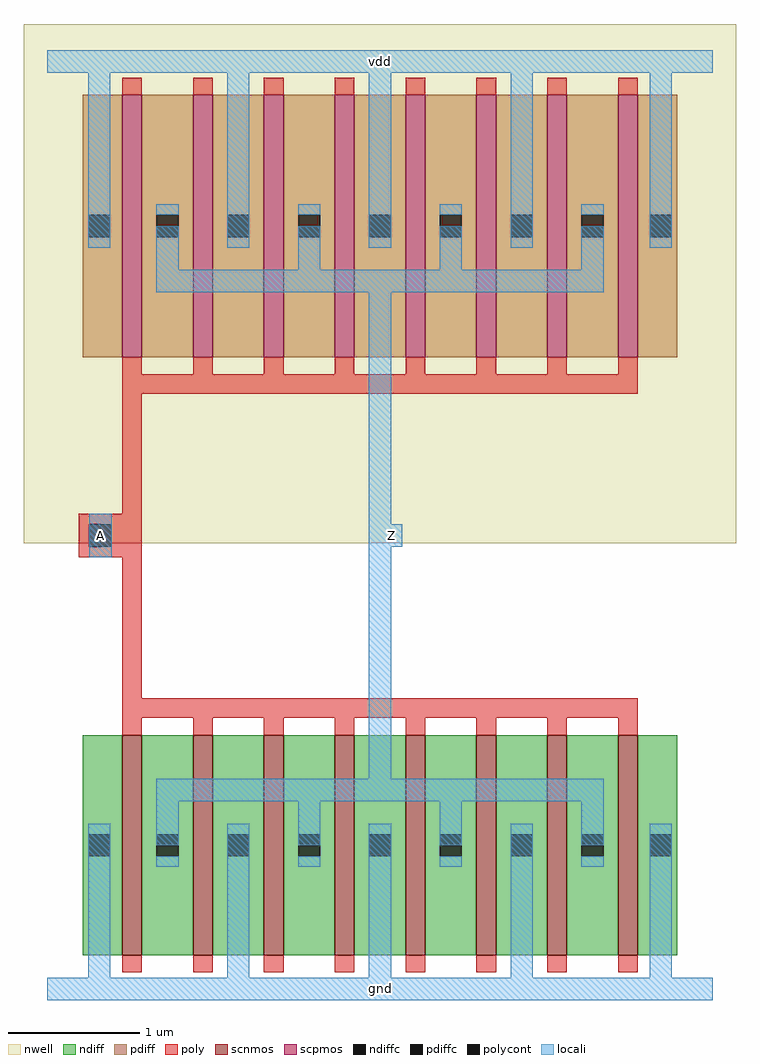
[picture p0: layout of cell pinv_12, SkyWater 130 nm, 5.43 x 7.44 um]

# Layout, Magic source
magic
tech sky130A
magscale 1 2
<< nwell >>
rect -36 679 1050 1471
<< poly >>
rect 114 724 144 907
rect 81 658 144 724
rect 114 443 144 658
<< locali >>
rect 0 1397 1014 1431
rect 62 1130 96 1397
rect 274 1130 308 1397
rect 490 1130 524 1397
rect 706 1130 740 1397
rect 918 1130 952 1397
rect 64 658 98 724
rect 490 708 524 1096
rect 490 674 541 708
rect 490 286 524 674
rect 62 17 96 186
rect 274 17 308 186
rect 490 17 524 186
rect 706 17 740 186
rect 918 17 952 186
rect 0 -17 1014 17
use pmos_m8_w2_000_sli_dli_da_p  pmos_m8_w2_000_sli_dli_da_p_0
transform 1 0 54 0 1 963
box -59 -56 965 454
use contact_12  contact_12_0
transform 1 0 48 0 1 658
box 0 0 66 66
use nmos_m8_w1_680_sli_dli_da_p  nmos_m8_w1_680_sli_dli_da_p_0
transform 1 0 54 0 1 51
box 0 -26 906 392
<< labels >>
rlabel corelocali s 507 0 507 0 4 gnd
rlabel corelocali s 524 691 524 691 4 Z
rlabel corelocali s 507 1414 507 1414 4 vdd
rlabel corelocali s 81 691 81 691 4 A
<< properties >>
string FIXED_BBOX 0 0 1014 1414
<< end >>

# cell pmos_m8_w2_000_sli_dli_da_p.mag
magic
tech sky130A
magscale 1 2
<< nwell >>
rect -54 -54 960 454
<< scpmos >>
rect 60 0 90 400
rect 168 0 198 400
rect 276 0 306 400
rect 384 0 414 400
rect 492 0 522 400
rect 600 0 630 400
rect 708 0 738 400
rect 816 0 846 400
<< pdiff >>
rect 0 0 60 400
rect 90 0 168 400
rect 198 0 276 400
rect 306 0 384 400
rect 414 0 492 400
rect 522 0 600 400
rect 630 0 708 400
rect 738 0 816 400
rect 846 0 906 400
<< poly >>
rect 60 400 90 426
rect 168 400 198 426
rect 276 400 306 426
rect 384 400 414 426
rect 492 400 522 426
rect 600 400 630 426
rect 708 400 738 426
rect 816 400 846 426
rect 60 -26 90 0
rect 168 -26 198 0
rect 276 -26 306 0
rect 384 -26 414 0
rect 492 -26 522 0
rect 600 -26 630 0
rect 708 -26 738 0
rect 816 -26 846 0
rect 60 -56 846 -26
<< locali >>
rect 8 167 42 233
rect 112 133 146 200
rect 220 167 254 233
rect 328 133 362 200
rect 436 167 470 233
rect 544 133 578 200
rect 652 167 686 233
rect 760 133 794 200
rect 864 167 898 233
rect 112 99 794 133
use contact_11  contact_11_8
transform 1 0 0 0 1 167
box -59 -51 109 117
use contact_11  contact_11_7
transform 1 0 104 0 1 167
box -59 -51 109 117
use contact_11  contact_11_6
transform 1 0 212 0 1 167
box -59 -51 109 117
use contact_11  contact_11_5
transform 1 0 320 0 1 167
box -59 -51 109 117
use contact_11  contact_11_4
transform 1 0 428 0 1 167
box -59 -51 109 117
use contact_11  contact_11_3
transform 1 0 536 0 1 167
box -59 -51 109 117
use contact_11  contact_11_2
transform 1 0 644 0 1 167
box -59 -51 109 117
use contact_11  contact_11_1
transform 1 0 752 0 1 167
box -59 -51 109 117
use contact_11  contact_11_0
transform 1 0 856 0 1 167
box -59 -51 109 117
<< labels >>
rlabel poly s 453 -41 453 -41 4 G
rlabel corelocali s 669 200 669 200 4 S
rlabel corelocali s 453 200 453 200 4 S
rlabel corelocali s 881 200 881 200 4 S
rlabel corelocali s 25 200 25 200 4 S
rlabel corelocali s 237 200 237 200 4 S
rlabel corelocali s 453 116 453 116 4 D
<< properties >>
string FIXED_BBOX -54 -54 960 454
<< end >>

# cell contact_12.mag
magic
tech sky130A
<< poly >>
rect 0 25 33 33
rect 0 8 8 25
rect 25 8 33 25
rect 0 0 33 8
<< polycont >>
rect 8 8 25 25
<< locali >>
rect 8 25 25 33
rect 8 0 25 8
<< properties >>
string FIXED_BBOX -10 -10 43 43
<< end >>

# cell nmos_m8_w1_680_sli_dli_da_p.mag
magic
tech sky130A
magscale 1 2
<< scnmos >>
rect 60 0 90 336
rect 168 0 198 336
rect 276 0 306 336
rect 384 0 414 336
rect 492 0 522 336
rect 600 0 630 336
rect 708 0 738 336
rect 816 0 846 336
<< ndiff >>
rect 0 0 60 336
rect 90 0 168 336
rect 198 0 276 336
rect 306 0 384 336
rect 414 0 492 336
rect 522 0 600 336
rect 630 0 708 336
rect 738 0 816 336
rect 846 0 906 336
<< poly >>
rect 60 362 846 392
rect 60 336 90 362
rect 168 336 198 362
rect 276 336 306 362
rect 384 336 414 362
rect 492 336 522 362
rect 600 336 630 362
rect 708 336 738 362
rect 816 336 846 362
rect 60 -26 90 0
rect 168 -26 198 0
rect 276 -26 306 0
rect 384 -26 414 0
rect 492 -26 522 0
rect 600 -26 630 0
rect 708 -26 738 0
rect 816 -26 846 0
<< locali >>
rect 112 235 794 269
rect 8 135 42 201
rect 112 168 146 235
rect 220 135 254 201
rect 328 168 362 235
rect 436 135 470 201
rect 544 168 578 235
rect 652 135 686 201
rect 760 168 794 235
rect 864 135 898 201
use contact_17  contact_17_8
transform 1 0 0 0 1 135
box 0 0 50 66
use contact_17  contact_17_7
transform 1 0 104 0 1 135
box 0 0 50 66
use contact_17  contact_17_6
transform 1 0 212 0 1 135
box 0 0 50 66
use contact_17  contact_17_5
transform 1 0 320 0 1 135
box 0 0 50 66
use contact_17  contact_17_4
transform 1 0 428 0 1 135
box 0 0 50 66
use contact_17  contact_17_3
transform 1 0 536 0 1 135
box 0 0 50 66
use contact_17  contact_17_2
transform 1 0 644 0 1 135
box 0 0 50 66
use contact_17  contact_17_1
transform 1 0 752 0 1 135
box 0 0 50 66
use contact_17  contact_17_0
transform 1 0 856 0 1 135
box 0 0 50 66
<< labels >>
rlabel poly s 453 377 453 377 4 G
rlabel corelocali s 669 168 669 168 4 S
rlabel corelocali s 881 168 881 168 4 S
rlabel corelocali s 453 168 453 168 4 S
rlabel corelocali s 237 168 237 168 4 S
rlabel corelocali s 25 168 25 168 4 S
rlabel corelocali s 453 252 453 252 4 D
<< properties >>
string FIXED_BBOX -25 -26 931 362
<< end >>

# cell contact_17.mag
magic
tech sky130A
<< ndiff >>
rect 0 25 25 31
rect 0 8 4 25
rect 21 8 25 25
rect 0 2 25 8
<< ndiffc >>
rect 4 8 21 25
<< locali >>
rect 4 25 21 33
rect 4 0 21 8
<< properties >>
string FIXED_BBOX -12 -10 37 43
<< end >>

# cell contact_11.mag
magic
tech sky130A
magscale 1 2
<< nwell >>
rect -59 -51 109 117
<< pdiff >>
rect 0 50 50 62
rect 0 16 8 50
rect 42 16 50 50
rect 0 4 50 16
<< pdiffc >>
rect 8 16 42 50
<< locali >>
rect 8 50 42 66
rect 8 0 42 16
<< properties >>
string FIXED_BBOX -59 -51 109 117
<< end >>
